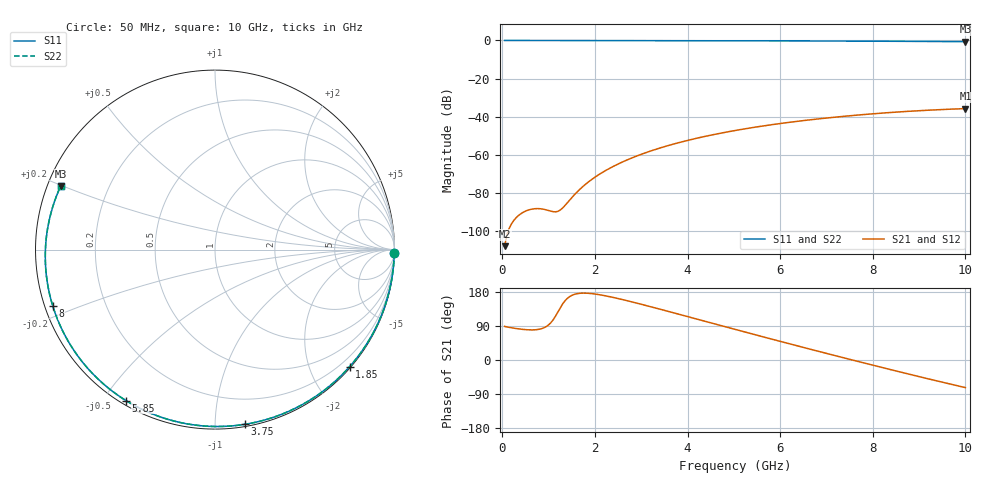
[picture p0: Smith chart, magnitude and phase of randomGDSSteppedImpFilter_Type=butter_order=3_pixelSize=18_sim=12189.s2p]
! freq	dB(S11)	phase(S11)	dB(S12)	phase(S12)
!  dB(S21)	phase(S21)	dB(S22)	phase(S22)
!S-par simulation data
#  GHz  S  DB  R 50
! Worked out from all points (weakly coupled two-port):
!   200 points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, 50 MHz to 10 GHz, reference 50 ohm
!   highest |S21| = -35.68 dB at 10 GHz (marker M1); lowest = -107.7 dB at 50 MHz (marker M2)
!   lowest |S11| = -0.6 dB at 10 GHz (marker M3), VSWR 27.51, Z = 1.89 + j9.84 ohm
!   |S11| at or under -10 dB: nowhere
!   |S22| runs from -0.6 to 0.0 dB; largest |S21 - S12| = 0
!   S11 on the Smith chart (normalised r, x): 50 MHz: open; 1.85 GHz: 0.02, -2.67; 3.75 GHz: 0.01, -1.18; 5.85 GHz: 0.02, -0.57; 8 GHz: 0.02, -0.17; 10 GHz: 0.04, +0.20
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0.05  -0.00 -1.1  -107.69 88.6  -107.69 88.6  -0.00 -1.1
0.8  -0.02 -18.0  -88.05 81.2  -88.05 81.2  -0.02 -18.0
1.55  -0.04 -34.5  -80.95 172.9  -80.95 172.9  -0.04 -34.6
1.6  -0.05 -35.6  -79.68 174.6  -79.68 174.6  -0.05 -35.6
1.75  -0.05 -38.9  -76.25 176.5  -76.25 176.5  -0.05 -38.9
1.85  -0.05 -41.0  -74.25 176.1  -74.25 176.1  -0.05 -41.1
2.15  -0.06 -47.5  -69.25 171.2  -69.25 171.2  -0.06 -47.5
2.5  -0.07 -54.9  -64.68 162.2  -64.68 162.2  -0.07 -54.9
2.9  -0.08 -63.2  -60.51 150.2  -60.51 150.2  -0.08 -63.3
3.4  -0.10 -73.4  -56.34 134.3  -56.34 134.3  -0.10 -73.5
3.75  -0.11 -80.4  -53.89 122.9  -53.89 122.9  -0.11 -80.5
4.4  -0.13 -93.1  -50.10 101.4  -50.10 101.4  -0.13 -93.2
5.05  -0.16 -105.6  -47.04 80.1  -47.04 80.1  -0.16 -105.7
5.85  -0.21 -120.6  -43.99 54.0  -43.99 54.0  -0.21 -120.7
6.7  -0.26 -136.3  -41.40 26.9  -41.40 26.9  -0.27 -136.4
7.35  -0.32 -148.4  -39.77 6.4  -39.77 6.4  -0.32 -148.6
8  -0.38 -160.8  -38.40 -13.7  -38.40 -13.7  -0.38 -160.9
8.35  -0.42 -167.6  -37.77 -24.4  -37.77 -24.4  -0.42 -167.7
8.8  -0.47 -176.6  -37.05 -37.9  -37.05 -37.9  -0.47 -176.7
9.2  -0.52 175.2  -36.51 -49.8  -36.51 -49.8  -0.52 175.0
9.6  -0.58 166.6  -36.05 -61.4  -36.05 -61.4  -0.58 166.4
10  -0.63 157.7  -35.68 -72.8  -35.68 -72.8  -0.63 157.5
